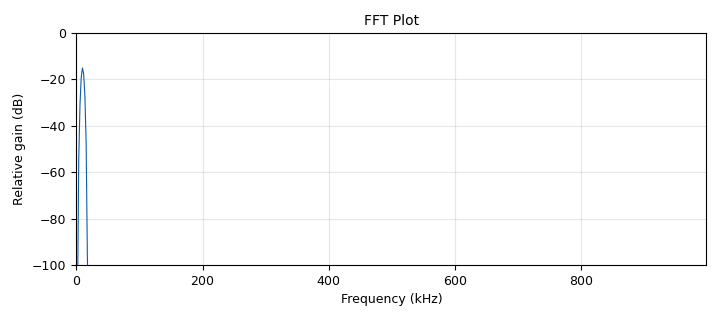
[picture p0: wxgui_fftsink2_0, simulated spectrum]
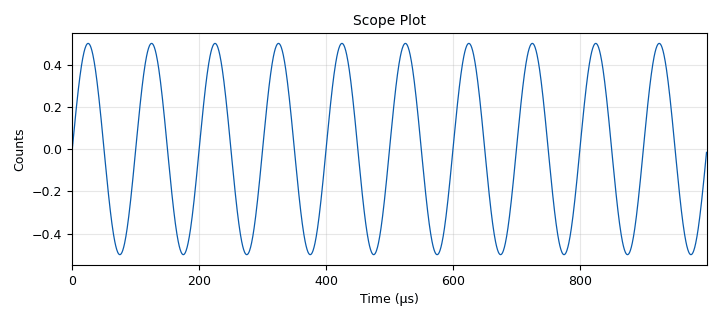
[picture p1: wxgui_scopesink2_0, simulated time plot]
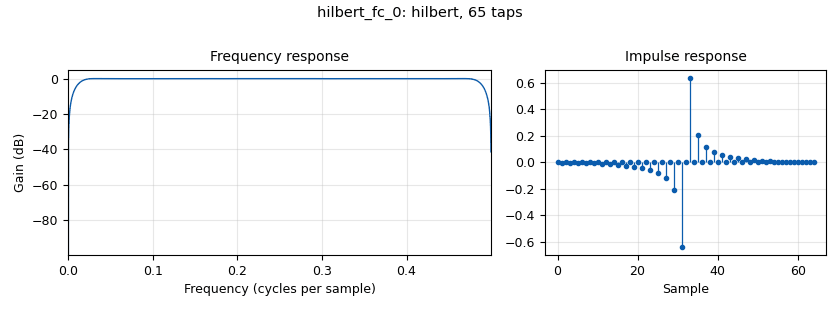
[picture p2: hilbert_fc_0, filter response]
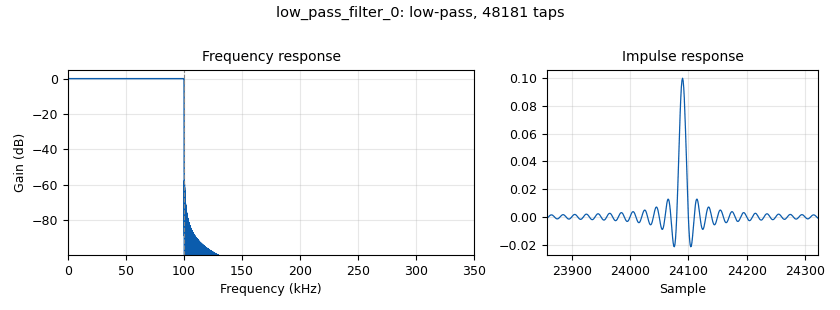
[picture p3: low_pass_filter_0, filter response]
<?xml version='1.0' encoding='utf-8'?>
<?grc format='1' created='3.7.9'?>
<flow_graph>
<block>
<key>options</key>
<param><key>id</key><value>top_block</value></param>
<param><key>category</key><value>Custom</value></param>
<param><key>generate_options</key><value>wx_gui</value></param>
</block>
<block>
<key>variable</key>
<param><key>id</key><value>samp_rate</value></param>
<param><key>value</key><value>2e6</value></param>
</block>
<block>
<key>analog_sig_source_x</key>
<param><key>id</key><value>analog_sig_source_x_0_0</value></param>
<param><key>amp</key><value>1</value></param>
<param><key>freq</key><value>500e3</value></param>
<param><key>offset</key><value>0</value></param>
<param><key>type</key><value>float</value></param>
<param><key>samp_rate</key><value>samp_rate</value></param>
<param><key>waveform</key><value>analog.GR_COS_WAVE</value></param>
</block>
<block>
<key>analog_sig_source_x</key>
<param><key>id</key><value>analog_sig_source_x_0_0_0</value></param>
<param><key>amp</key><value>1</value></param>
<param><key>freq</key><value>10e3</value></param>
<param><key>offset</key><value>0</value></param>
<param><key>type</key><value>float</value></param>
<param><key>samp_rate</key><value>samp_rate</value></param>
<param><key>waveform</key><value>analog.GR_COS_WAVE</value></param>
</block>
<block>
<key>audio_sink</key>
<param><key>id</key><value>audio_sink_0</value></param>
<param><key>samp_rate</key><value>48000</value></param>
</block>
<block>
<key>blocks_add_xx</key>
<param><key>id</key><value>blocks_add_xx_0</value></param>
<param><key>type</key><value>float</value></param>
</block>
<block>
<key>blocks_complex_to_float</key>
<param><key>id</key><value>blocks_complex_to_float_0</value></param>
</block>
<block>
<key>blocks_multiply_xx</key>
<param><key>id</key><value>blocks_multiply_xx_0</value></param>
<param><key>type</key><value>float</value></param>
</block>
<block>
<key>blocks_multiply_xx</key>
<param><key>id</key><value>blocks_multiply_xx_1</value></param>
<param><key>type</key><value>float</value></param>
</block>
<block>
<key>blocks_throttle</key>
<param><key>id</key><value>blocks_throttle_0</value></param>
<param><key>samples_per_second</key><value>samp_rate</value></param>
<param><key>type</key><value>float</value></param>
</block>
<block>
<key>blocks_wavfile_source</key>
<param><key>id</key><value>blocks_wavfile_source_0</value></param>
<param><key>_enabled</key><value>0</value></param>
<param><key>file</key><value>/home/ritesh/Dropbox/Sem5/EE340_communications_Lab/Lab 5/Q2/vocal.wav</value></param>
<param><key>repeat</key><value>True</value></param>
</block>
<block>
<key>hilbert_fc</key>
<param><key>id</key><value>hilbert_fc_0</value></param>
<param><key>num_taps</key><value>65</value></param>
<param><key>win</key><value>firdes.WIN_HAMMING</value></param>
</block>
<block>
<key>low_pass_filter</key>
<param><key>id</key><value>low_pass_filter_0</value></param>
<param><key>cutoff_freq</key><value>100e3</value></param>
<param><key>type</key><value>interp_fir_filter_fff</value></param>
<param><key>gain</key><value>1</value></param>
<param><key>interp</key><value>1</value></param>
<param><key>samp_rate</key><value>samp_rate</value></param>
<param><key>width</key><value>100</value></param>
<param><key>win</key><value>firdes.WIN_HAMMING</value></param>
</block>
<block>
<key>wxgui_fftsink2</key>
<param><key>id</key><value>wxgui_fftsink2_0</value></param>
<param><key>avg_alpha</key><value>0</value></param>
<param><key>average</key><value>False</value></param>
<param><key>baseband_freq</key><value>0</value></param>
<param><key>fft_size</key><value>1024</value></param>
<param><key>freqvar</key><value>None</value></param>
<param><key>peak_hold</key><value>False</value></param>
<param><key>ref_level</key><value>0</value></param>
<param><key>ref_scale</key><value>2.0</value></param>
<param><key>fft_rate</key><value>15</value></param>
<param><key>samp_rate</key><value>samp_rate</value></param>
<param><key>title</key><value>FFT Plot</value></param>
<param><key>type</key><value>float</value></param>
<param><key>win</key><value>None</value></param>
<param><key>y_divs</key><value>10</value></param>
<param><key>y_per_div</key><value>10</value></param>
</block>
<block>
<key>wxgui_scopesink2</key>
<param><key>id</key><value>wxgui_scopesink2_0</value></param>
<param><key>ac_couple</key><value>False</value></param>
<param><key>num_inputs</key><value>1</value></param>
<param><key>samp_rate</key><value>samp_rate</value></param>
<param><key>t_scale</key><value>0</value></param>
<param><key>title</key><value>Scope Plot</value></param>
<param><key>trig_mode</key><value>wxgui.TRIG_MODE_AUTO</value></param>
<param><key>type</key><value>float</value></param>
<param><key>v_offset</key><value>0</value></param>
<param><key>v_scale</key><value>0</value></param>
<param><key>xy_mode</key><value>False</value></param>
<param><key>y_axis_label</key><value>Counts</value></param>
</block>
<connection><source_block_id>analog_sig_source_x_0_0</source_block_id><sink_block_id>blocks_multiply_xx_0</sink_block_id><source_key>0</source_key><sink_key>1</sink_key></connection>
<connection><source_block_id>analog_sig_source_x_0_0</source_block_id><sink_block_id>blocks_multiply_xx_1</sink_block_id><source_key>0</source_key><sink_key>1</sink_key></connection>
<connection><source_block_id>analog_sig_source_x_0_0_0</source_block_id><sink_block_id>blocks_multiply_xx_0</sink_block_id><source_key>0</source_key><sink_key>0</sink_key></connection>
<connection><source_block_id>blocks_add_xx_0</source_block_id><sink_block_id>blocks_multiply_xx_1</sink_block_id><source_key>0</source_key><sink_key>0</sink_key></connection>
<connection><source_block_id>blocks_complex_to_float_0</source_block_id><sink_block_id>blocks_add_xx_0</sink_block_id><source_key>1</source_key><sink_key>1</sink_key></connection>
<connection><source_block_id>blocks_complex_to_float_0</source_block_id><sink_block_id>blocks_add_xx_0</sink_block_id><source_key>0</source_key><sink_key>0</sink_key></connection>
<connection><source_block_id>blocks_multiply_xx_0</source_block_id><sink_block_id>blocks_throttle_0</sink_block_id><source_key>0</source_key><sink_key>0</sink_key></connection>
<connection><source_block_id>blocks_multiply_xx_1</source_block_id><sink_block_id>low_pass_filter_0</sink_block_id><source_key>0</source_key><sink_key>0</sink_key></connection>
<connection><source_block_id>blocks_throttle_0</source_block_id><sink_block_id>hilbert_fc_0</sink_block_id><source_key>0</source_key><sink_key>0</sink_key></connection>
<connection><source_block_id>blocks_wavfile_source_0</source_block_id><sink_block_id>blocks_multiply_xx_0</sink_block_id><source_key>0</source_key><sink_key>0</sink_key></connection>
<connection><source_block_id>hilbert_fc_0</source_block_id><sink_block_id>blocks_complex_to_float_0</sink_block_id><source_key>0</source_key><sink_key>0</sink_key></connection>
<connection><source_block_id>low_pass_filter_0</source_block_id><sink_block_id>audio_sink_0</sink_block_id><source_key>0</source_key><sink_key>0</sink_key></connection>
<connection><source_block_id>low_pass_filter_0</source_block_id><sink_block_id>wxgui_fftsink2_0</sink_block_id><source_key>0</source_key><sink_key>0</sink_key></connection>
<connection><source_block_id>low_pass_filter_0</source_block_id><sink_block_id>wxgui_scopesink2_0</sink_block_id><source_key>0</source_key><sink_key>0</sink_key></connection>
</flow_graph>
